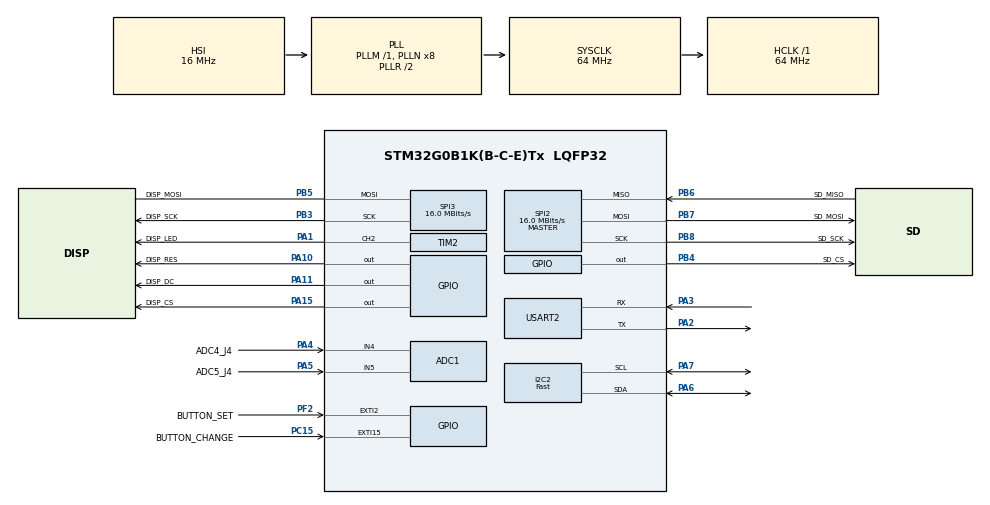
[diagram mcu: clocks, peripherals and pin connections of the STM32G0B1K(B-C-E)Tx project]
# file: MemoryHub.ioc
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ADC1.Channel-0\#ChannelRegularConversion=ADC_CHANNEL_4
ADC1.NbrOfConversionFlag=1
ADC1.Rank-0\#ChannelRegularConversion=1
ADC1.SamplingTime-0\#ChannelRegularConversion=ADC_SAMPLINGTIME_COMMON_1
ADC1.SelectedChannel=ADC_CHANNEL_4|ADC_CHANNEL_5
ADC1.master=1
Dma.Request0=SPI3_TX
Dma.SPI3_TX.0.Direction=DMA_MEMORY_TO_PERIPH
Dma.SPI3_TX.0.EventEnable=DISABLE
Dma.SPI3_TX.0.Instance=DMA1_Channel1
Dma.SPI3_TX.0.MemDataAlignment=DMA_MDATAALIGN_BYTE
Dma.SPI3_TX.0.MemInc=DMA_MINC_ENABLE
Dma.SPI3_TX.0.Mode=DMA_NORMAL
Dma.SPI3_TX.0.PeriphDataAlignment=DMA_PDATAALIGN_BYTE
Dma.SPI3_TX.0.PeriphInc=DMA_PINC_DISABLE
Dma.SPI3_TX.0.Polarity=HAL_DMAMUX_REQ_GEN_RISING
Dma.SPI3_TX.0.Priority=DMA_PRIORITY_VERY_HIGH
Dma.SPI3_TX.0.RequestNumber=1
Dma.SPI3_TX.0.SignalID=NONE
Dma.SPI3_TX.0.SyncEnable=DISABLE
Dma.SPI3_TX.0.SyncPolarity=HAL_DMAMUX_SYNC_NO_EVENT
Dma.SPI3_TX.0.SyncRequestNumber=1
Dma.SPI3_TX.0.SyncSignalID=NONE
FATFS._MAX_SS=4096
FATFS._USE_LABEL=0
FATFS._USE_LFN=0
I2C2.I2C_Speed_Mode=I2C_Fast
I2C2.Timing=0x00C12166
Mcu.Family=STM32G0
Mcu.Name=STM32G0B1K(B-C-E)Tx
Mcu.Package=LQFP32
NVIC.DMA1_Channel1_IRQn=true\:0\:0\:false\:false\:true\:false\:true\:true
NVIC.EXTI2_3_IRQn=true\:0\:0\:false\:false\:true\:true\:true\:true
NVIC.EXTI4_15_IRQn=true\:0\:0\:false\:false\:true\:true\:true\:true
PA1.GPIO_Label=DISP_LED
PA1.Signal=S_TIM2_CH2
PA10.GPIO_Label=DISP_RES
PA10.PinState=GPIO_PIN_SET
PA10.Signal=GPIO_Output
PA11\ [PA9].GPIO_Label=DISP_DC
PA11\ [PA9].PinState=GPIO_PIN_SET
PA11\ [PA9].Signal=GPIO_Output
PA13.Mode=Serial_Wire
PA13.Signal=SYS_SWDIO
PA14-BOOT0.Mode=Serial_Wire
PA14-BOOT0.Signal=SYS_SWCLK
PA15.GPIO_Label=DISP_CS
PA15.PinState=GPIO_PIN_SET
PA15.Signal=GPIO_Output
PA2.Mode=Asynchronous
PA2.Signal=USART2_TX
PA3.Mode=Asynchronous
PA3.Signal=USART2_RX
PA4.GPIO_Label=ADC4_J4
PA4.Mode=IN4
PA4.Signal=ADC1_IN4
PA5.GPIO_Label=ADC5_J4
PA5.Mode=IN5
PA5.Signal=ADC1_IN5
PA6.Mode=I2C
PA6.Signal=I2C2_SDA
PA7.Mode=I2C
PA7.Signal=I2C2_SCL
PB3.GPIO_Label=DISP_SCK
PB3.Mode=Simplex_Bidirectional_Master
PB3.Signal=SPI3_SCK
PB4.GPIO_Label=SD_CS
PB4.PinState=GPIO_PIN_SET
PB4.Signal=GPIO_Output
PB5.GPIO_Label=DISP_MOSI
PB5.Mode=Simplex_Bidirectional_Master
PB5.Signal=SPI3_MOSI
PB6.GPIO_Label=SD_MISO
PB6.Mode=Full_Duplex_Master
PB6.Signal=SPI2_MISO
PB7.GPIO_Label=SD_MOSI
PB7.Mode=Full_Duplex_Master
PB7.Signal=SPI2_MOSI
PB8.GPIO_Label=SD_SCK
PB8.Mode=Full_Duplex_Master
PB8.Signal=SPI2_SCK
PC15-OSC32_OUT\ (PC15).GPIO_Label=BUTTON_CHANGE
PC15-OSC32_OUT\ (PC15).GPIO_ModeDefaultEXTI=GPIO_MODE_IT_FALLING
PC15-OSC32_OUT\ (PC15).Signal=GPXTI15
PF2-NRST.GPIO_Label=BUTTON_SET
PF2-NRST.GPIO_ModeDefaultEXTI=GPIO_MODE_IT_FALLING
PF2-NRST.GPIO_PuPd=GPIO_PULLUP
PF2-NRST.Signal=GPXTI2
ProjectManager.HeapSize=0x200
ProjectManager.StackSize=0x400
ProjectManager.TargetToolchain=CMake
RCC.ADCFreq_Value=64000000
RCC.AHBFreq_Value=64000000
RCC.CortexFreq_Value=64000000
RCC.EXTERNAL_CLOCK_VALUE=48000
RCC.HCLKFreq_Value=64000000
RCC.HSE_VALUE=8000000
RCC.HSI48_VALUE=48000000
RCC.HSI_VALUE=16000000
RCC.LSE_VALUE=32768
RCC.SYSCLKFreq_VALUE=64000000
RCC.SYSCLKSource=RCC_SYSCLKSOURCE_PLLCLK
RCC.USBFreq_Value=48000000
RCC.VCOOutputFreq_Value=128000000
SH.S_TIM2_CH2.0=TIM2_CH2,PWM Generation2 CH2
SPI2.BaudRatePrescaler=SPI_BAUDRATEPRESCALER_4
SPI2.CalculateBaudRate=16.0 MBits/s
SPI2.DataSize=SPI_DATASIZE_8BIT
SPI2.Direction=SPI_DIRECTION_2LINES
SPI2.Mode=SPI_MODE_MASTER
SPI2.NSSPMode=SPI_NSS_PULSE_DISABLE
SPI2.VirtualType=VM_MASTER
SPI3.BaudRatePrescaler=SPI_BAUDRATEPRESCALER_4
SPI3.CalculateBaudRate=16.0 MBits/s
SPI3.DataSize=SPI_DATASIZE_8BIT
SPI3.Direction=SPI_DIRECTION_1LINE
SPI3.Mode=SPI_MODE_MASTER
SPI3.NSSPMode=SPI_NSS_PULSE_DISABLE
SPI3.VirtualType=VM_MASTER
TIM2.AutoReloadPreload=TIM_AUTORELOAD_PRELOAD_ENABLE
TIM2.Channel-PWM\ Generation2\ CH2=TIM_CHANNEL_2
TIM2.Period=800
TIM2.Prescaler=4
USART2.VirtualMode-Asynchronous=VM_ASYNC
VP_CRC_VS_CRC.Mode=CRC_Activate
VP_FATFS_VS_Generic.Mode=User_defined
VP_SYS_VS_DBSignals.Mode=DisableDeadBatterySignals
VP_TIM2_VS_ClockSourceINT.Mode=Internal
board=custom

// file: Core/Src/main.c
/* USER CODE BEGIN Header */
/**
  ******************************************************************************
  * @file           : main.c
  * @brief          : Main program body
  ******************************************************************************
  * @attention
  *
  * Copyright (c) 2026 STMicroelectronics.
  * All rights reserved.
  *
  * This software is licensed under terms that can be found in the LICENSE file
  * in the root directory of this software component.
  * If no LICENSE file comes with this software, it is provided AS-IS.
  *
  ******************************************************************************
  */
/* USER CODE END Header */
#include "main.h"
#include "app_fatfs.h"

/* USER CODE BEGIN Includes */
#include "mainCpp.h"
#include "stdbool.h"
/* USER CODE END Includes */

ADC_HandleTypeDef hadc1;

CRC_HandleTypeDef hcrc;

I2C_HandleTypeDef hi2c2;

SPI_HandleTypeDef hspi2;
SPI_HandleTypeDef hspi3;
DMA_HandleTypeDef hdma_spi3_tx;

TIM_HandleTypeDef htim2;

UART_HandleTypeDef huart2;

/* USER CODE BEGIN PV */
bool transferComplete     = false;
bool buttonChangedPressed = false;
bool buttonSetPressed     = false;
FATFS fs;
FIL  file;
UINT br;
/* USER CODE END PV */

void SystemClock_Config(void);
static void MX_GPIO_Init(void);
static void MX_DMA_Init(void);
static void MX_SPI2_Init(void);
static void MX_SPI3_Init(void);
static void MX_ADC1_Init(void);
static void MX_I2C2_Init(void);
static void MX_USART2_UART_Init(void);
static void MX_CRC_Init(void);
static void MX_TIM2_Init(void);

int main(void)
{

  /* MCU Configuration--------------------------------------------------------*/

  /* Reset of all peripherals, Initializes the Flash interface and the Systick. */
  HAL_Init();

  /* Configure the system clock */
  SystemClock_Config();

  /* Initialize all configured peripherals */
  MX_GPIO_Init();
  MX_DMA_Init();
  MX_SPI2_Init();
  MX_SPI3_Init();
  MX_ADC1_Init();
  MX_I2C2_Init();
  MX_USART2_UART_Init();
  if (MX_FATFS_Init() != APP_OK) {
    Error_Handler();
  }
  MX_CRC_Init();
  MX_TIM2_Init();
  /* USER CODE BEGIN 2 */
  mainCpp();
  /* USER CODE END 2 */

  /* Infinite loop */
  while (1)
  {

  }
}

void SystemClock_Config(void)
{
  RCC_OscInitTypeDef RCC_OscInitStruct = {0};
  RCC_ClkInitTypeDef RCC_ClkInitStruct = {0};

  /** Configure the main internal regulator output voltage
  */
  HAL_PWREx_ControlVoltageScaling(PWR_REGULATOR_VOLTAGE_SCALE1);

  /** Initializes the RCC Oscillators according to the specified parameters
  * in the RCC_OscInitTypeDef structure.
  */
  RCC_OscInitStruct.OscillatorType = RCC_OSCILLATORTYPE_HSI;
  RCC_OscInitStruct.HSIState = RCC_HSI_ON;
  RCC_OscInitStruct.HSIDiv = RCC_HSI_DIV1;
  RCC_OscInitStruct.HSICalibrationValue = RCC_HSICALIBRATION_DEFAULT;
  RCC_OscInitStruct.PLL.PLLState = RCC_PLL_ON;
  RCC_OscInitStruct.PLL.PLLSource = RCC_PLLSOURCE_HSI;
  RCC_OscInitStruct.PLL.PLLM = RCC_PLLM_DIV1;
  RCC_OscInitStruct.PLL.PLLN = 8;
  RCC_OscInitStruct.PLL.PLLP = RCC_PLLP_DIV2;
  RCC_OscInitStruct.PLL.PLLQ = RCC_PLLQ_DIV2;
  RCC_OscInitStruct.PLL.PLLR = RCC_PLLR_DIV2;
  if (HAL_RCC_OscConfig(&RCC_OscInitStruct) != HAL_OK)
  {
    Error_Handler();
  }

  /** Initializes the CPU, AHB and APB buses clocks
  */
  RCC_ClkInitStruct.ClockType = RCC_CLOCKTYPE_HCLK|RCC_CLOCKTYPE_SYSCLK
                              |RCC_CLOCKTYPE_PCLK1;
  RCC_ClkInitStruct.SYSCLKSource = RCC_SYSCLKSOURCE_PLLCLK;
  RCC_ClkInitStruct.AHBCLKDivider = RCC_SYSCLK_DIV1;
  RCC_ClkInitStruct.APB1CLKDivider = RCC_HCLK_DIV1;

  if (HAL_RCC_ClockConfig(&RCC_ClkInitStruct, FLASH_LATENCY_2) != HAL_OK)
  {
    Error_Handler();
  }
}

static void MX_ADC1_Init(void)
{

  ADC_ChannelConfTypeDef sConfig = {0};

  /** Configure the global features of the ADC (Clock, Resolution, Data Alignment and number of conversion)
  */
  hadc1.Instance = ADC1;
  hadc1.Init.ClockPrescaler = ADC_CLOCK_SYNC_PCLK_DIV2;
  hadc1.Init.Resolution = ADC_RESOLUTION_12B;
  hadc1.Init.DataAlign = ADC_DATAALIGN_RIGHT;
  hadc1.Init.ScanConvMode = ADC_SCAN_DISABLE;
  hadc1.Init.EOCSelection = ADC_EOC_SINGLE_CONV;
  hadc1.Init.LowPowerAutoWait = DISABLE;
  hadc1.Init.LowPowerAutoPowerOff = DISABLE;
  hadc1.Init.ContinuousConvMode = DISABLE;
  hadc1.Init.NbrOfConversion = 1;
  hadc1.Init.DiscontinuousConvMode = DISABLE;
  hadc1.Init.ExternalTrigConv = ADC_SOFTWARE_START;
  hadc1.Init.ExternalTrigConvEdge = ADC_EXTERNALTRIGCONVEDGE_NONE;
  hadc1.Init.DMAContinuousRequests = DISABLE;
  hadc1.Init.Overrun = ADC_OVR_DATA_PRESERVED;
  hadc1.Init.SamplingTimeCommon1 = ADC_SAMPLETIME_1CYCLE_5;
  hadc1.Init.SamplingTimeCommon2 = ADC_SAMPLETIME_1CYCLE_5;
  hadc1.Init.OversamplingMode = DISABLE;
  hadc1.Init.TriggerFrequencyMode = ADC_TRIGGER_FREQ_HIGH;
  if (HAL_ADC_Init(&hadc1) != HAL_OK)
  {
    Error_Handler();
  }

  /** Configure Regular Channel
  */
  sConfig.Channel = ADC_CHANNEL_4;
  sConfig.Rank = ADC_REGULAR_RANK_1;
  sConfig.SamplingTime = ADC_SAMPLINGTIME_COMMON_1;
  if (HAL_ADC_ConfigChannel(&hadc1, &sConfig) != HAL_OK)
  {
    Error_Handler();
  }

}

static void MX_CRC_Init(void)
{

  hcrc.Instance = CRC;
  hcrc.Init.DefaultPolynomialUse = DEFAULT_POLYNOMIAL_ENABLE;
  hcrc.Init.DefaultInitValueUse = DEFAULT_INIT_VALUE_ENABLE;
  hcrc.Init.InputDataInversionMode = CRC_INPUTDATA_INVERSION_NONE;
  hcrc.Init.OutputDataInversionMode = CRC_OUTPUTDATA_INVERSION_DISABLE;
  hcrc.InputDataFormat = CRC_INPUTDATA_FORMAT_BYTES;
  if (HAL_CRC_Init(&hcrc) != HAL_OK)
  {
    Error_Handler();
  }

}

static void MX_I2C2_Init(void)
{

  hi2c2.Instance = I2C2;
  hi2c2.Init.Timing = 0x00C12166;
  hi2c2.Init.OwnAddress1 = 0;
  hi2c2.Init.AddressingMode = I2C_ADDRESSINGMODE_7BIT;
  hi2c2.Init.DualAddressMode = I2C_DUALADDRESS_DISABLE;
  hi2c2.Init.OwnAddress2 = 0;
  hi2c2.Init.OwnAddress2Masks = I2C_OA2_NOMASK;
  hi2c2.Init.GeneralCallMode = I2C_GENERALCALL_DISABLE;
  hi2c2.Init.NoStretchMode = I2C_NOSTRETCH_DISABLE;
  if (HAL_I2C_Init(&hi2c2) != HAL_OK)
  {
    Error_Handler();
  }

  /** Configure Analogue filter
  */
  if (HAL_I2CEx_ConfigAnalogFilter(&hi2c2, I2C_ANALOGFILTER_ENABLE) != HAL_OK)
  {
    Error_Handler();
  }

  /** Configure Digital filter
  */
  if (HAL_I2CEx_ConfigDigitalFilter(&hi2c2, 0) != HAL_OK)
  {
    Error_Handler();
  }

}

static void MX_SPI2_Init(void)
{

  /* SPI2 parameter configuration*/
  hspi2.Instance = SPI2;
  hspi2.Init.Mode = SPI_MODE_MASTER;
  hspi2.Init.Direction = SPI_DIRECTION_2LINES;
  hspi2.Init.DataSize = SPI_DATASIZE_8BIT;
  hspi2.Init.CLKPolarity = SPI_POLARITY_LOW;
  hspi2.Init.CLKPhase = SPI_PHASE_1EDGE;
  hspi2.Init.NSS = SPI_NSS_SOFT;
  hspi2.Init.BaudRatePrescaler = SPI_BAUDRATEPRESCALER_4;
  hspi2.Init.FirstBit = SPI_FIRSTBIT_MSB;
  hspi2.Init.TIMode = SPI_TIMODE_DISABLE;
  hspi2.Init.CRCCalculation = SPI_CRCCALCULATION_DISABLE;
  hspi2.Init.CRCPolynomial = 7;
  hspi2.Init.CRCLength = SPI_CRC_LENGTH_DATASIZE;
  hspi2.Init.NSSPMode = SPI_NSS_PULSE_DISABLE;
  if (HAL_SPI_Init(&hspi2) != HAL_OK)
  {
    Error_Handler();
  }

}

static void MX_SPI3_Init(void)
{

  /* SPI3 parameter configuration*/
  hspi3.Instance = SPI3;
  hspi3.Init.Mode = SPI_MODE_MASTER;
  hspi3.Init.Direction = SPI_DIRECTION_1LINE;
  hspi3.Init.DataSize = SPI_DATASIZE_8BIT;
  hspi3.Init.CLKPolarity = SPI_POLARITY_LOW;
  hspi3.Init.CLKPhase = SPI_PHASE_1EDGE;
  hspi3.Init.NSS = SPI_NSS_SOFT;
  hspi3.Init.BaudRatePrescaler = SPI_BAUDRATEPRESCALER_4;
  hspi3.Init.FirstBit = SPI_FIRSTBIT_MSB;
  hspi3.Init.TIMode = SPI_TIMODE_DISABLE;
  hspi3.Init.CRCCalculation = SPI_CRCCALCULATION_DISABLE;
  hspi3.Init.CRCPolynomial = 7;
  hspi3.Init.CRCLength = SPI_CRC_LENGTH_DATASIZE;
  hspi3.Init.NSSPMode = SPI_NSS_PULSE_DISABLE;
  if (HAL_SPI_Init(&hspi3) != HAL_OK)
  {
    Error_Handler();
  }

}

static void MX_TIM2_Init(void)
{

  TIM_ClockConfigTypeDef sClockSourceConfig = {0};
  TIM_MasterConfigTypeDef sMasterConfig = {0};
  TIM_OC_InitTypeDef sConfigOC = {0};

  htim2.Instance = TIM2;
  htim2.Init.Prescaler = 4;
  htim2.Init.CounterMode = TIM_COUNTERMODE_UP;
  htim2.Init.Period = 800;
  htim2.Init.ClockDivision = TIM_CLOCKDIVISION_DIV1;
  htim2.Init.AutoReloadPreload = TIM_AUTORELOAD_PRELOAD_ENABLE;
  if (HAL_TIM_Base_Init(&htim2) != HAL_OK)
  {
    Error_Handler();
  }
  sClockSourceConfig.ClockSource = TIM_CLOCKSOURCE_INTERNAL;
  if (HAL_TIM_ConfigClockSource(&htim2, &sClockSourceConfig) != HAL_OK)
  {
    Error_Handler();
  }
  if (HAL_TIM_PWM_Init(&htim2) != HAL_OK)
  {
    Error_Handler();
  }
  sMasterConfig.MasterOutputTrigger = TIM_TRGO_RESET;
  sMasterConfig.MasterSlaveMode = TIM_MASTERSLAVEMODE_DISABLE;
  if (HAL_TIMEx_MasterConfigSynchronization(&htim2, &sMasterConfig) != HAL_OK)
  {
    Error_Handler();
  }
  sConfigOC.OCMode = TIM_OCMODE_PWM1;
  sConfigOC.Pulse = 0;
  sConfigOC.OCPolarity = TIM_OCPOLARITY_HIGH;
  sConfigOC.OCFastMode = TIM_OCFAST_DISABLE;
  if (HAL_TIM_PWM_ConfigChannel(&htim2, &sConfigOC, TIM_CHANNEL_2) != HAL_OK)
  {
    Error_Handler();
  }
  HAL_TIM_MspPostInit(&htim2);

}

static void MX_USART2_UART_Init(void)
{

  huart2.Instance = USART2;
  huart2.Init.BaudRate = 115200;
  huart2.Init.WordLength = UART_WORDLENGTH_8B;
  huart2.Init.StopBits = UART_STOPBITS_1;
  huart2.Init.Parity = UART_PARITY_NONE;
  huart2.Init.Mode = UART_MODE_TX_RX;
  huart2.Init.HwFlowCtl = UART_HWCONTROL_NONE;
  huart2.Init.OverSampling = UART_OVERSAMPLING_16;
  huart2.Init.OneBitSampling = UART_ONE_BIT_SAMPLE_DISABLE;
  huart2.Init.ClockPrescaler = UART_PRESCALER_DIV1;
  huart2.AdvancedInit.AdvFeatureInit = UART_ADVFEATURE_NO_INIT;
  if (HAL_UART_Init(&huart2) != HAL_OK)
  {
    Error_Handler();
  }
  if (HAL_UARTEx_SetTxFifoThreshold(&huart2, UART_TXFIFO_THRESHOLD_1_8) != HAL_OK)
  {
    Error_Handler();
  }
  if (HAL_UARTEx_SetRxFifoThreshold(&huart2, UART_RXFIFO_THRESHOLD_1_8) != HAL_OK)
  {
    Error_Handler();
  }
  if (HAL_UARTEx_DisableFifoMode(&huart2) != HAL_OK)
  {
    Error_Handler();
  }

}

static void MX_DMA_Init(void)
{

  /* DMA controller clock enable */
  __HAL_RCC_DMA1_CLK_ENABLE();

  /* DMA interrupt init */
  /* DMA1_Channel1_IRQn interrupt configuration */
  HAL_NVIC_SetPriority(DMA1_Channel1_IRQn, 0, 0);
  HAL_NVIC_EnableIRQ(DMA1_Channel1_IRQn);

}

static void MX_GPIO_Init(void)
{
  GPIO_InitTypeDef GPIO_InitStruct = {0};

  /* GPIO Ports Clock Enable */
  __HAL_RCC_GPIOC_CLK_ENABLE();
  __HAL_RCC_GPIOF_CLK_ENABLE();
  __HAL_RCC_GPIOA_CLK_ENABLE();
  __HAL_RCC_GPIOB_CLK_ENABLE();

  /*Configure GPIO pin Output Level */
  HAL_GPIO_WritePin(GPIOA, DISP_RES_Pin|DISP_DC_Pin|DISP_CS_Pin, GPIO_PIN_SET);

  /*Configure GPIO pin Output Level */
  HAL_GPIO_WritePin(SD_CS_GPIO_Port, SD_CS_Pin, GPIO_PIN_SET);

  /*Configure GPIO pin : BUTTON_CHANGE_Pin */
  GPIO_InitStruct.Pin = BUTTON_CHANGE_Pin;
  GPIO_InitStruct.Mode = GPIO_MODE_IT_FALLING;
  GPIO_InitStruct.Pull = GPIO_NOPULL;
  HAL_GPIO_Init(BUTTON_CHANGE_GPIO_Port, &GPIO_InitStruct);

  /*Configure GPIO pin : BUTTON_SET_Pin */
  GPIO_InitStruct.Pin = BUTTON_SET_Pin;
  GPIO_InitStruct.Mode = GPIO_MODE_IT_FALLING;
  GPIO_InitStruct.Pull = GPIO_PULLUP;
  HAL_GPIO_Init(BUTTON_SET_GPIO_Port, &GPIO_InitStruct);

  /*Configure GPIO pins : DISP_RES_Pin DISP_DC_Pin DISP_CS_Pin */
  GPIO_InitStruct.Pin = DISP_RES_Pin|DISP_DC_Pin|DISP_CS_Pin;
  GPIO_InitStruct.Mode = GPIO_MODE_OUTPUT_PP;
  GPIO_InitStruct.Pull = GPIO_NOPULL;
  GPIO_InitStruct.Speed = GPIO_SPEED_FREQ_LOW;
  HAL_GPIO_Init(GPIOA, &GPIO_InitStruct);

  /*Configure GPIO pin : SD_CS_Pin */
  GPIO_InitStruct.Pin = SD_CS_Pin;
  GPIO_InitStruct.Mode = GPIO_MODE_OUTPUT_PP;
  GPIO_InitStruct.Pull = GPIO_NOPULL;
  GPIO_InitStruct.Speed = GPIO_SPEED_FREQ_LOW;
  HAL_GPIO_Init(SD_CS_GPIO_Port, &GPIO_InitStruct);

  /* EXTI interrupt init*/
  HAL_NVIC_SetPriority(EXTI2_3_IRQn, 0, 0);
  HAL_NVIC_EnableIRQ(EXTI2_3_IRQn);

  HAL_NVIC_SetPriority(EXTI4_15_IRQn, 0, 0);
  HAL_NVIC_EnableIRQ(EXTI4_15_IRQn);

}

/* USER CODE BEGIN 4 */
void HAL_SPI_TxCpltCallback(SPI_HandleTypeDef *hspi)
{
  if(hspi == &hspi3)
  {
    transferComplete = true;
  }
}
void HAL_GPIO_EXTI_Falling_Callback(uint16_t GPIO_Pin)
{
  if(GPIO_Pin == BUTTON_CHANGE_Pin)
  {
    buttonChangedPressed = true;
  }
  if(GPIO_Pin == BUTTON_SET_Pin)
  {
    buttonSetPressed = true;
  }
}
/* USER CODE END 4 */

void Error_Handler(void)
{
  __disable_irq();
  while (1)
  {
  }
}
